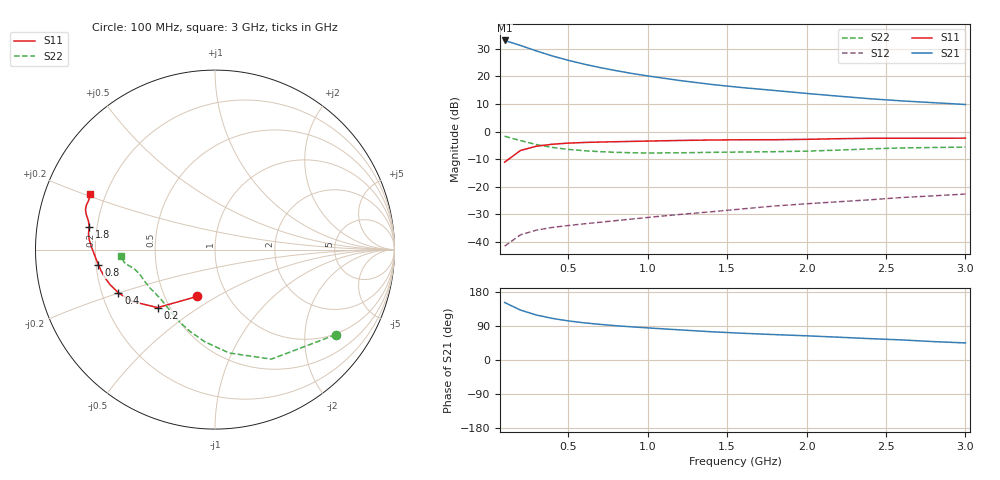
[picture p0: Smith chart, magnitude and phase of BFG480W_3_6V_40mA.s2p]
! Filename: 3_640BFG480.001
! Title: BFG480W
! Bias: Vce=3.6V; Ic=40mA
! Company: Philips Semiconductors NL
! User: Quality&Reliability T&D
! Measure time: 10 Nov 1999 / 11:59:46
#  MHz  S  MA  R 50
! Freq  S11  S21  S12  S22  :
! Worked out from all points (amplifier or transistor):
!   20 points, 100 MHz to 3 GHz, reference 50 ohm
!   highest |S21| = 33.0 dB at 100 MHz (marker M1)
!   |S21| within 3 dB of that: start of sweep to 259.9 MHz
!   unconditionally stable (mu >= 1): 1.052 GHz to end of sweep
!   at 400 MHz: K = 0.58, MSG = 31.1 dB, |S12| = -34.8 dB
!   at 1.2 GHz: K = 1.04, MAG = 23.1 dB, |S12| = -30.1 dB
!   at 3 GHz: K = 1.07, MAG = 14.7 dB, |S12| = -22.7 dB
!   S11 on the Smith chart (normalised r, x): 100 MHz: 0.72, -0.41; 200 MHz: 0.43, -0.35; 400 MHz: 0.27, -0.20; 800 MHz: 0.21, -0.06; 1.8 GHz: 0.17, +0.09; 3 GHz: 0.14, +0.21
100  0.2787 -110.7  44.92 151.8  0.008355 66.3  0.8227 -35.2
200  0.4546 -134.7  36.46 131.7  0.01343 55.7  0.6862 -62.8
300  0.5429 -147.8  29.02 118.7  0.01633 51.0  0.5812 -82.3
400  0.5895 -155.8  23.53 109.8  0.01827 49.7  0.5162 -96.5
500  0.6173 -161.7  19.63 103.2  0.01978 50.1  0.4759 -107.2
600  0.6344 -166.0  16.7 98.1  0.02124 51.3  0.45 -115.5
700  0.6458 -169.6  14.5 94.0  0.02269 53.2  0.4323 -122.0
800  0.655 -172.6  12.75 90.5  0.02428 55.3  0.4203 -127.5
900  0.6637 -175.2  11.34 87.5  0.02587 57.5  0.4129 -132.3
1000  0.6727 -177.6  10.22 84.7  0.02771 59.3  0.4094 -136.6
1200  0.69 178.4  8.453 79.5  0.03139 62.5  0.4121 -143.8
1400  0.7032 175.5  7.169 74.5  0.03512 64.9  0.4201 -149.2
1600  0.7103 172.8  6.252 70.5  0.03969 67.2  0.4259 -153.3
1800  0.712 169.8  5.558 67.0  0.04474 68.9  0.4324 -157.4
2000  0.7228 167.3  4.919 63.9  0.04908 70.5  0.4418 -162.2
2200  0.7427 164.8  4.391 60.2  0.05332 71.2  0.4609 -166.3
2400  0.7553 162.8  3.938 56.4  0.05795 71.4  0.4855 -169.2
2600  0.7583 161.0  3.599 53.0  0.06375 71.3  0.5051 -171.0
2800  0.7553 158.7  3.34 48.5  0.06838 70.5  0.5147 -173.0
3000  0.7605 156.0  3.1 45.0  0.07364 70.1  0.5224 -176.1
